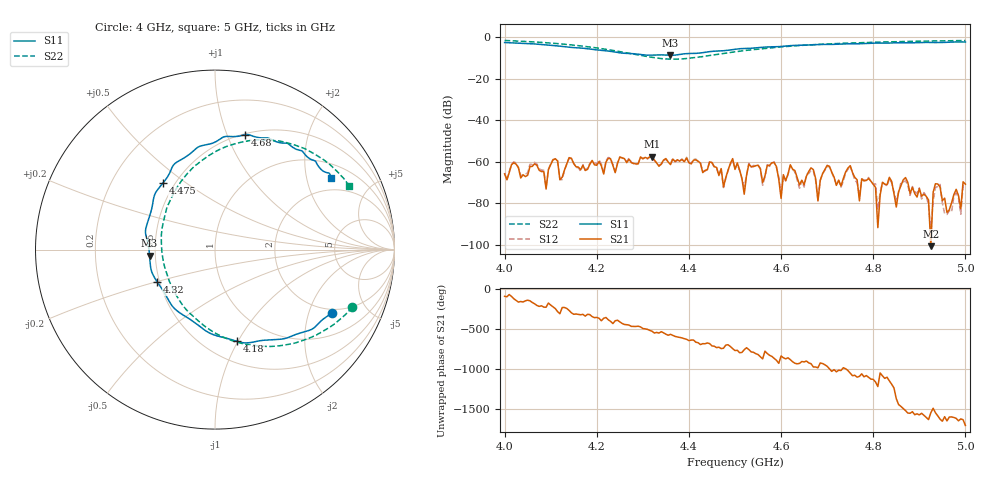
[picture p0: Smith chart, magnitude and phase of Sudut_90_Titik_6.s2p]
# Hz S RI R 50
! CMT, C1220, 16058040, 17.2.0/1
! Date: 15/08/2018 12:09:51
! Data: Format (Calibration Info)
! Freq  S11: Re/Im (F2)  S21: Re/Im (F2)  S12: Re/Im (F2)  S22: Re/Im (F2)
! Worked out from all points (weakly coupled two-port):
!   201 points, 4 GHz to 5 GHz, reference 50 ohm
!   highest |S21| = -57.50 dB at 4.32 GHz (marker M1); lowest = -100.5 dB at 4.925 GHz (marker M2)
!   lowest |S11| = -8.7 dB at 4.36 GHz (marker M3), VSWR 2.16, Z = 23.2 - j1.84 ohm
!   |S11| at or under -10 dB: nowhere
!   |S22| runs from -10.6 to -1.6 dB; largest |S21 - S12| = 0.00011
!   S11 on the Smith chart (normalised r, x): 4 GHz: 1.83, -2.87; 4.18 GHz: 0.70, -0.99; 4.32 GHz: 0.48, -0.20; 4.475 GHz: 0.43, +0.41; 4.68 GHz: 0.51, +1.16; 5 GHz: 1.47, +2.82
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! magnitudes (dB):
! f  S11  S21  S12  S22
! 4 GHz  -2.6  -65.8  -65.3  -1.6
! 4.17 GHz  -5.3  -61.6  -61.4  -4.4
! 4.18 GHz  -5.6  -63.6  -63.0  -4.6
! 4.32 GHz  -8.7  -57.5  -57.5  -9.7
! 4.335 GHz  -8.6  -62.1  -61.7  -10.2
! 4.36 GHz  -8.7  -61.3  -60.9  -10.6
! 4.475 GHz  -6.5  -72.0  -72.4  -7.9
! 4.5 GHz  -5.8  -63.6  -63.5  -7.1
! 4.52 GHz  -5.5  -75.5  -71.8  -6.5
! 4.53 GHz  -5.4  -61.1  -60.7  -6.2
! 4.56 GHz  -4.9  -69.9  -71.3  -5.5
! 4.585 GHz  -4.7  -60.3  -60.0  -5.0
! 4.6 GHz  -4.5  -77.6  -75.6  -4.7
! 4.62 GHz  -4.1  -61.4  -61.8  -4.4
! 4.67 GHz  -3.7  -63.7  -64.3  -3.6
! 4.68 GHz  -3.6  -78.8  -78.4  -3.5
! 4.7 GHz  -3.5  -61.7  -62.4  -3.3
! 4.75 GHz  -3.2  -61.8  -61.7  -2.8
! 4.77 GHz  -3.2  -78.7  -76.4  -2.7
! 4.835 GHz  -2.9  -67.4  -68.0  -2.3
! 4.925 GHz  -2.6  -100.5  -92.8  -1.9
! 5 GHz  -2.4  -70.7  -71.8  -1.6
